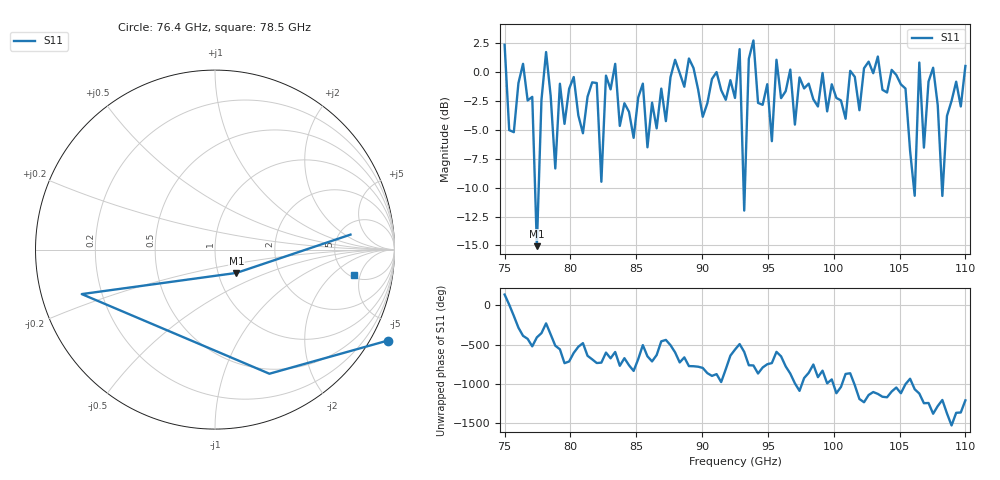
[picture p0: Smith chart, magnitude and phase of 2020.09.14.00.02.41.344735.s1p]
!Created with skrf (http://scikit-rf.org).
# GHz S RI R 50.0
!freq ReS11 ImS11
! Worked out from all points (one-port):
!   101 points, 75 GHz to 110 GHz, reference 50 ohm
!   lowest |S11| = -15.1 dB at 77.45 GHz (marker M1), VSWR 1.43, Z = 61.1 - j16.4 ohm
!   |S11| at or under -10 dB: 77.31297 GHz to 77.58987 GHz (276.9 MHz wide, 0.358 % of centre); 93.15041 GHz to 93.25276 GHz (102.3 MHz wide, 0.11 % of centre); 106.0872 GHz to 106.1712 GHz (83.99 MHz wide, 0.0791 % of centre) (the widest 3 of 4)
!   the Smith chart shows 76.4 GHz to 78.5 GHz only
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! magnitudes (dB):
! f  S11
! 75 GHz  2.4
! 75.35 GHz  -5.0
! 77.1 GHz  -2.1
! 77.45 GHz  -15.1
! 78.15 GHz  1.8
! 78.85 GHz  -8.3
! 79.2 GHz  -1.0
! 79.55 GHz  -4.5
! 82 GHz  -0.9
! 82.35 GHz  -9.5
! 82.7 GHz  -0.3
! 83.4 GHz  0.7
! 83.75 GHz  -4.6
! 88.3 GHz  -0.1
! 92.5 GHz  -2.2
! 92.85 GHz  2.0
! 93.2 GHz  -12.0
! 93.55 GHz  1.2
! 93.9 GHz  2.8
! 95.3 GHz  -6.0
! 95.65 GHz  1.1
! 97.05 GHz  -4.5
! 101.2 GHz  0.1
! 105.8 GHz  -6.8
! 106.2 GHz  -10.7
! 107.5 GHz  0.4
! 108.2 GHz  -10.7
! 110 GHz  0.5
